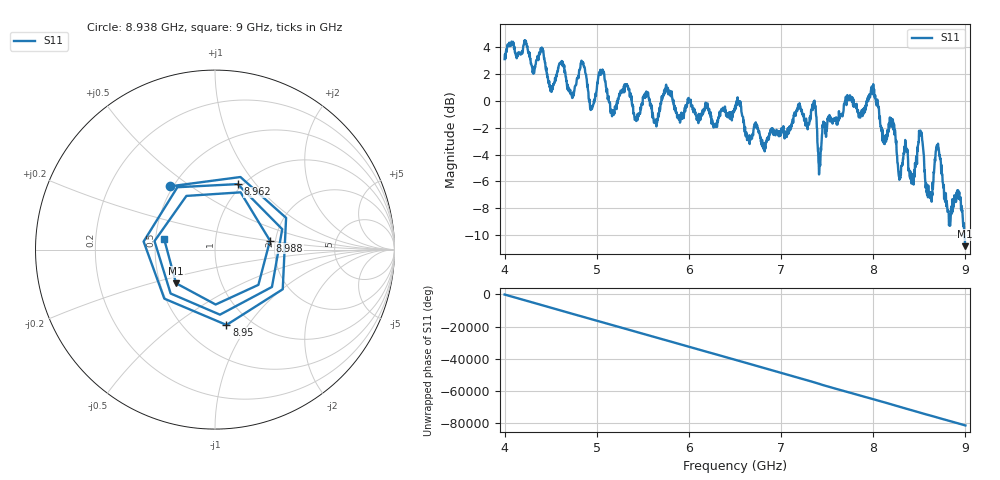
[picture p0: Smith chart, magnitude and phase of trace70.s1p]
! Created with skrf 1.8.0 (http://scikit-rf.org).
# Hz S RI R 50.0
!freq ReS11 ImS11
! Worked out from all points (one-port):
!   1601 points, 4 GHz to 9 GHz, reference 50 ohm
!   lowest |S11| = -10.9 dB at 8.997 GHz (marker M1), VSWR 1.80, Z = 30.3 - j12.3 ohm
!   |S11| at or under -10 dB: 8.987365 GHz to end of sweep
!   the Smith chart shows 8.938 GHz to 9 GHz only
!   S11 on the Smith chart (normalised r, x): 8.938 GHz: 0.48, +0.42; 8.95 GHz: 0.78, -0.80; 8.962 GHz: 0.95, +0.81; 8.988 GHz: 1.87, +0.21; 9 GHz: 0.55, +0.07
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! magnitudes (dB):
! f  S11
! 4 GHz  3.1
! 4.625 GHz  2.7
! 4.85 GHz  2.8
! 4.941 GHz  -0.4
! 5.047 GHz  2.0
! 5.25 GHz  0.4
! 5.875 GHz  -1.1
! 6.5 GHz  -0.4
! 6.809 GHz  -3.6
! 7.125 GHz  -1.4
! 7.353 GHz  -0.2
! 7.419 GHz  -4.6
! 7.75 GHz  0.4
! 7.997 GHz  0.9
! 8.116 GHz  -3.2
! 8.216 GHz  -1.6
! 8.284 GHz  -5.9
! 8.375 GHz  -4.0
! 8.512 GHz  -2.2
! 8.603 GHz  -7.1
! 8.7 GHz  -3.4
! 8.819 GHz  -8.4
! 8.938 GHz  -7.3
! 8.95 GHz  -7.4
! 8.962 GHz  -8.3
! 8.988 GHz  -10.2
! 8.997 GHz  -10.9
! 9 GHz  -10.7
